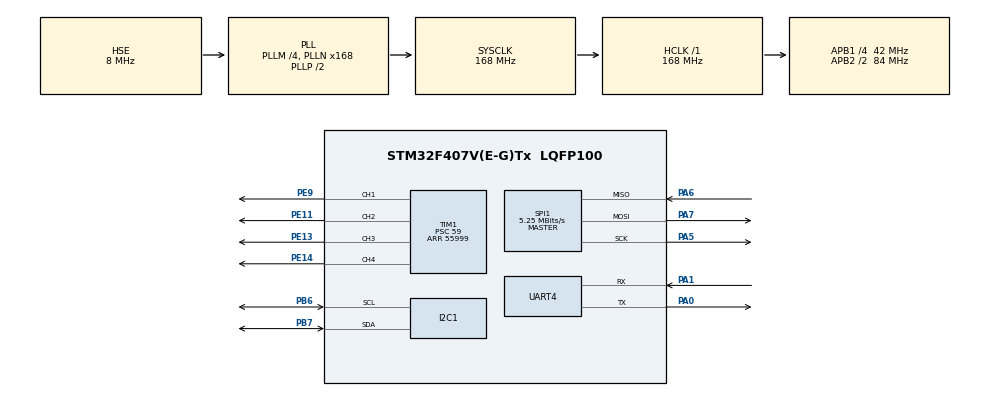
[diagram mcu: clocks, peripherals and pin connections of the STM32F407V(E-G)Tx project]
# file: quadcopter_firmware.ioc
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Dma.Request0=SPI1_RX
Dma.Request1=SPI1_TX
Dma.Request2=UART4_TX
Dma.SPI1_RX.0.Direction=DMA_PERIPH_TO_MEMORY
Dma.SPI1_RX.0.FIFOMode=DMA_FIFOMODE_DISABLE
Dma.SPI1_RX.0.Instance=DMA2_Stream0
Dma.SPI1_RX.0.MemDataAlignment=DMA_MDATAALIGN_BYTE
Dma.SPI1_RX.0.MemInc=DMA_MINC_ENABLE
Dma.SPI1_RX.0.Mode=DMA_NORMAL
Dma.SPI1_RX.0.PeriphDataAlignment=DMA_PDATAALIGN_BYTE
Dma.SPI1_RX.0.PeriphInc=DMA_PINC_DISABLE
Dma.SPI1_RX.0.Priority=DMA_PRIORITY_LOW
Dma.SPI1_TX.1.Direction=DMA_MEMORY_TO_PERIPH
Dma.SPI1_TX.1.FIFOMode=DMA_FIFOMODE_DISABLE
Dma.SPI1_TX.1.Instance=DMA2_Stream3
Dma.SPI1_TX.1.MemDataAlignment=DMA_MDATAALIGN_BYTE
Dma.SPI1_TX.1.MemInc=DMA_MINC_ENABLE
Dma.SPI1_TX.1.Mode=DMA_NORMAL
Dma.SPI1_TX.1.PeriphDataAlignment=DMA_PDATAALIGN_BYTE
Dma.SPI1_TX.1.PeriphInc=DMA_PINC_DISABLE
Dma.SPI1_TX.1.Priority=DMA_PRIORITY_LOW
Dma.UART4_TX.2.Direction=DMA_MEMORY_TO_PERIPH
Dma.UART4_TX.2.FIFOMode=DMA_FIFOMODE_DISABLE
Dma.UART4_TX.2.Instance=DMA1_Stream4
Dma.UART4_TX.2.MemDataAlignment=DMA_MDATAALIGN_BYTE
Dma.UART4_TX.2.MemInc=DMA_MINC_ENABLE
Dma.UART4_TX.2.Mode=DMA_NORMAL
Dma.UART4_TX.2.PeriphDataAlignment=DMA_PDATAALIGN_BYTE
Dma.UART4_TX.2.PeriphInc=DMA_PINC_DISABLE
Dma.UART4_TX.2.Priority=DMA_PRIORITY_LOW
FREERTOS.Events01=regular_event,Static,regular_event_ctrl
FREERTOS.Tasks01=regular_task,24,512,regular_task_main,Default,NULL,Dynamic,NULL,NULL
FREERTOS.Timers01=cyclic_timer,cyclic_timer_callback,osTimerPeriodic,Default,NULL,Dynamic,NULL
FREERTOS.configUSE_NEWLIB_REENTRANT=1
I2C1.I2C_Mode=I2C_Fast
I2C1.OwnAddress=0x68
Mcu.Family=STM32F4
Mcu.Name=STM32F407V(E-G)Tx
Mcu.Package=LQFP100
NVIC.DMA1_Stream4_IRQn=true\:5\:0\:false\:false\:true\:true\:false\:true\:true
NVIC.DMA2_Stream0_IRQn=true\:5\:0\:false\:false\:true\:true\:false\:true\:true
NVIC.DMA2_Stream3_IRQn=true\:5\:0\:false\:false\:true\:true\:false\:true\:true
NVIC.PriorityGroup=NVIC_PRIORITYGROUP_4
PA0-WKUP.Mode=Asynchronous
PA0-WKUP.Signal=UART4_TX
PA1.Mode=Asynchronous
PA1.Signal=UART4_RX
PA5.Mode=Full_Duplex_Master
PA5.Signal=SPI1_SCK
PA6.Mode=Full_Duplex_Master
PA6.Signal=SPI1_MISO
PA7.Mode=Full_Duplex_Master
PA7.Signal=SPI1_MOSI
PB6.Mode=I2C
PB6.Signal=I2C1_SCL
PB7.Mode=I2C
PB7.Signal=I2C1_SDA
PE11.Signal=S_TIM1_CH2
PE13.Signal=S_TIM1_CH3
PE14.Signal=S_TIM1_CH4
PE9.Signal=S_TIM1_CH1
PH0-OSC_IN.Mode=HSE-External-Oscillator
PH0-OSC_IN.Signal=RCC_OSC_IN
PH1-OSC_OUT.Mode=HSE-External-Oscillator
PH1-OSC_OUT.Signal=RCC_OSC_OUT
ProjectManager.HeapSize=0x200
ProjectManager.StackSize=0x400
ProjectManager.TargetToolchain=STM32CubeIDE
RCC.48MHZClocksFreq_Value=84000000
RCC.AHBFreq_Value=168000000
RCC.APB1CLKDivider=RCC_HCLK_DIV4
RCC.APB1Freq_Value=42000000
RCC.APB1TimFreq_Value=84000000
RCC.APB2CLKDivider=RCC_HCLK_DIV2
RCC.APB2Freq_Value=84000000
RCC.APB2TimFreq_Value=168000000
RCC.CortexFreq_Value=168000000
RCC.HCLKFreq_Value=168000000
RCC.HSE_VALUE=8000000
RCC.HSI_VALUE=16000000
RCC.LSE_VALUE=32768
RCC.PLLM=4
RCC.PLLN=168
RCC.PLLSourceVirtual=RCC_PLLSOURCE_HSE
RCC.SYSCLKFreq_VALUE=168000000
RCC.SYSCLKSource=RCC_SYSCLKSOURCE_PLLCLK
RCC.VCOOutputFreq_Value=336000000
SH.S_TIM1_CH1.0=TIM1_CH1,PWM Generation1 CH1
SH.S_TIM1_CH2.0=TIM1_CH2,PWM Generation2 CH2
SH.S_TIM1_CH3.0=TIM1_CH3,PWM Generation3 CH3
SH.S_TIM1_CH4.0=TIM1_CH4,PWM Generation4 CH4
SPI1.BaudRatePrescaler=SPI_BAUDRATEPRESCALER_16
SPI1.CalculateBaudRate=5.25 MBits/s
SPI1.Direction=SPI_DIRECTION_2LINES
SPI1.Mode=SPI_MODE_MASTER
SPI1.VirtualType=VM_MASTER
TIM1.Channel-PWM\ Generation1\ CH1=TIM_CHANNEL_1
TIM1.Channel-PWM\ Generation2\ CH2=TIM_CHANNEL_2
TIM1.Channel-PWM\ Generation3\ CH3=TIM_CHANNEL_3
TIM1.Channel-PWM\ Generation4\ CH4=TIM_CHANNEL_4
TIM1.Period=55999
TIM1.Prescaler=59
UART4.VirtualMode=Asynchronous
VP_FREERTOS_VS_CMSIS_V2.Mode=CMSIS_V2
board=custom

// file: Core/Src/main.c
/* USER CODE BEGIN Header */
/**
  ******************************************************************************
  * @file           : main.c
  * @brief          : Main program body
  ******************************************************************************
  * @attention
  *
  * Copyright (c) 2023 STMicroelectronics.
  * All rights reserved.
  *
  * This software is licensed under terms that can be found in the LICENSE file
  * in the root directory of this software component.
  * If no LICENSE file comes with this software, it is provided AS-IS.
  *
  ******************************************************************************
  */
/* USER CODE END Header */
#include "main.h"
#include "cmsis_os.h"
#include "dma.h"
#include "i2c.h"
#include "spi.h"
#include "tim.h"
#include "usart.h"
#include "gpio.h"

/* USER CODE BEGIN Includes */
#include "err_code.h"
#include "hw_intf.h"
#include "periph_imu.h"
#include "periph_motor.h"
#include "serial_log.h"
/* USER CODE END Includes */
void SystemClock_Config(void);
void MX_FREERTOS_Init(void);
int main(void)
{
    /* MCU Configuration--------------------------------------------------------*/
    /* Reset of all peripherals, Initializes the Flash interface and the Systick. */
    HAL_Init();
    /* Configure the system clock */
    SystemClock_Config();
    /* Initialize all configured peripherals */
    MX_GPIO_Init();
    MX_DMA_Init();
    MX_TIM1_Init();
    MX_SPI1_Init();
    MX_I2C1_Init();
    MX_UART4_Init();
    /* USER CODE BEGIN 2 */
    serial_log_function_set(hw_intf_log_func, hw_intf_log_get_tick_func);
    periph_imu_init();
    periph_motor_init();
    /* USER CODE END 2 */
    /* Init scheduler */
    osKernelInitialize();  /* Call init function for freertos objects (in freertos.c) */
    MX_FREERTOS_Init();
    /* Start scheduler */
    osKernelStart();
    /* We should never get here as control is now taken by the scheduler */
    /* Infinite loop */
    while (1)
    {
    }
}
void SystemClock_Config(void)
{
    RCC_OscInitTypeDef RCC_OscInitStruct = {0};
    RCC_ClkInitTypeDef RCC_ClkInitStruct = {0};
    /** Configure the main internal regulator output voltage
    */
    __HAL_RCC_PWR_CLK_ENABLE();
    __HAL_PWR_VOLTAGESCALING_CONFIG(PWR_REGULATOR_VOLTAGE_SCALE1);
    /** Initializes the RCC Oscillators according to the specified parameters
    * in the RCC_OscInitTypeDef structure.
    */
    RCC_OscInitStruct.OscillatorType = RCC_OSCILLATORTYPE_HSE;
    RCC_OscInitStruct.HSEState = RCC_HSE_ON;
    RCC_OscInitStruct.PLL.PLLState = RCC_PLL_ON;
    RCC_OscInitStruct.PLL.PLLSource = RCC_PLLSOURCE_HSE;
    RCC_OscInitStruct.PLL.PLLM = 4;
    RCC_OscInitStruct.PLL.PLLN = 168;
    RCC_OscInitStruct.PLL.PLLP = RCC_PLLP_DIV2;
    RCC_OscInitStruct.PLL.PLLQ = 4;
    if (HAL_RCC_OscConfig(&RCC_OscInitStruct) != HAL_OK)
    {
        Error_Handler();
    }
    /** Initializes the CPU, AHB and APB buses clocks
    */
    RCC_ClkInitStruct.ClockType = RCC_CLOCKTYPE_HCLK | RCC_CLOCKTYPE_SYSCLK
                                  | RCC_CLOCKTYPE_PCLK1 | RCC_CLOCKTYPE_PCLK2;
    RCC_ClkInitStruct.SYSCLKSource = RCC_SYSCLKSOURCE_PLLCLK;
    RCC_ClkInitStruct.AHBCLKDivider = RCC_SYSCLK_DIV1;
    RCC_ClkInitStruct.APB1CLKDivider = RCC_HCLK_DIV4;
    RCC_ClkInitStruct.APB2CLKDivider = RCC_HCLK_DIV2;
    if (HAL_RCC_ClockConfig(&RCC_ClkInitStruct, FLASH_LATENCY_5) != HAL_OK)
    {
        Error_Handler();
    }
}
void Error_Handler(void)
{
    __disable_irq();
    while (1)
    {
    }
}

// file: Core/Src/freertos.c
/* USER CODE BEGIN Header */
/**
  ******************************************************************************
  * File Name          : freertos.c
  * Description        : Code for freertos applications
  ******************************************************************************
  * @attention
  *
  * Copyright (c) 2023 STMicroelectronics.
  * All rights reserved.
  *
  * This software is licensed under terms that can be found in the LICENSE file
  * in the root directory of this software component.
  * If no LICENSE file comes with this software, it is provided AS-IS.
  *
  ******************************************************************************
  */
/* USER CODE END Header */

#include "FreeRTOS.h"
#include "task.h"
#include "main.h"
#include "cmsis_os.h"
/* USER CODE BEGIN Includes */
#include "serial_log.h"
#include "periph_imu.h"
#include "math.h"
/* USER CODE END Includes */
typedef StaticEventGroup_t osStaticEventGroupDef_t;
/* USER CODE BEGIN PD */
#define OS_CYCLIC_TIMER_TICK    1

#define OS_TASK_BLOCKING        portMAX_DELAY
#define OS_TASK_NON_BLOCKING    0

#define OS_EVENT_CYCLIC_1MS     1
#define OS_EVENT_CYCLIC_5MS     2
#define OS_EVENT_CYCLIC_500MS   3
/* USER CODE END PD */
/* USER CODE BEGIN Variables */
float roll, pitch, yaw;
/* USER CODE END Variables */
/* Definitions for regular_task */
osThreadId_t regular_taskHandle;
const osThreadAttr_t regular_task_attributes = {
    .name = "regular_task",
    .stack_size = 512 * 4,
    .priority = (osPriority_t) osPriorityNormal,
};
/* Definitions for cyclic_timer */
osTimerId_t cyclic_timerHandle;
const osTimerAttr_t cyclic_timer_attributes = {
    .name = "cyclic_timer"
};
/* Definitions for regular_event */
osEventFlagsId_t regular_eventHandle;
osStaticEventGroupDef_t regular_event_ctrl;
const osEventFlagsAttr_t regular_event_attributes = {
    .name = "regular_event",
    .cb_mem = &regular_event_ctrl,
    .cb_size = sizeof(regular_event_ctrl),
};
void regular_task_main(void *argument);
void cyclic_timer_callback(void *argument);
void MX_FREERTOS_Init(void); /* (MISRA C 2004 rule 8.1) */
void MX_FREERTOS_Init(void) {
    /* Create the timer(s) */
    /* creation of cyclic_timer */
    cyclic_timerHandle = osTimerNew(cyclic_timer_callback, osTimerPeriodic, NULL, &cyclic_timer_attributes);
    /* Create the thread(s) */
    /* creation of regular_task */
    regular_taskHandle = osThreadNew(regular_task_main, NULL, &regular_task_attributes);
    /* Create the event(s) */
    /* creation of regular_event */
    regular_eventHandle = osEventFlagsNew(&regular_event_attributes);
}
void regular_task_main(void *argument)
{
    /* USER CODE BEGIN regular_task_main */
    uint32_t regular_event;
    osTimerStart(cyclic_timerHandle, OS_CYCLIC_TIMER_TICK);
    /* Infinite loop */
    for (;;)
    {
        regular_event = osEventFlagsWait(regular_eventHandle,
                                         OS_EVENT_CYCLIC_1MS | OS_EVENT_CYCLIC_5MS,
                                         pdTRUE,
                                         OS_TASK_BLOCKING);
        if (regular_event & OS_EVENT_CYCLIC_1MS)
        {

        }
        if (regular_event & OS_EVENT_CYCLIC_5MS)
        {
            float q0, q1, q2, q3;
            periph_imu_update_quat();
            periph_imu_get_quat(&q0, &q1, &q2, &q3);

            roll = 180.0 / 3.14 * atan2(2 * (q0 * q1 + q2 * q3), 1 - 2 * (q1 * q1 + q2 * q2));
            pitch = 180.0 / 3.14 * asin(2 * (q0 * q2 - q3 * q1));
            yaw = 180.0 / 3.14 * atan2f(q0 * q3 + q1 * q2, 0.5f - q2 * q2 - q3 * q3);
        }
        if (regular_event & OS_EVENT_CYCLIC_500MS)
        {
        	SERIAL_LOGI("RTOS", "roll: %7.4f\t\tpitch: %7.4f\t\tyaw: %7.4f\t", roll, pitch, yaw);
        }
    }
    /* USER CODE END regular_task_main */
}
/* cyclic_timer_callback function */
void cyclic_timer_callback(void *argument)
{
    /* USER CODE BEGIN cyclic_timer_callback */
    static uint16_t cnt_cycle;

    osEventFlagsSet(regular_eventHandle, OS_EVENT_CYCLIC_1MS);

    if (cnt_cycle == 4)
    {
        osEventFlagsSet(regular_eventHandle, OS_EVENT_CYCLIC_5MS);
    }
    else if (cnt_cycle == 499)
    {
        osEventFlagsSet(regular_eventHandle, OS_EVENT_CYCLIC_5MS | OS_EVENT_CYCLIC_500MS);
    }
    else
    {

    }

    cnt_cycle++;
    if (cnt_cycle == 8)
    {
        cnt_cycle = 0;
    }

    /* USER CODE END cyclic_timer_callback */
}
